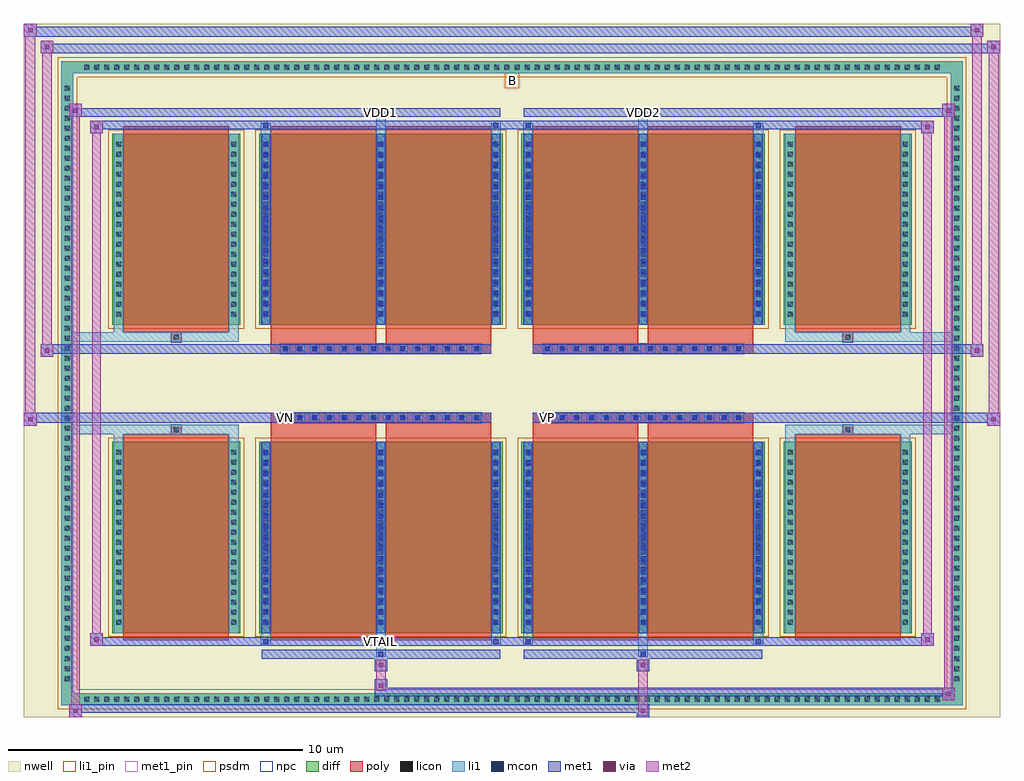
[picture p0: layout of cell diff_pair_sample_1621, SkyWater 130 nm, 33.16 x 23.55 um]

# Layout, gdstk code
import gdstk
lib = gdstk.Library(unit=1e-6, precision=5e-09)
def R(c, l, rs):  # rectangles x0, y0, x1, y1
    for r in rs: c.add(gdstk.rectangle(r[:2], r[2:], *l))
def A(c, l, x, y, w, h, nx, ny, dx, dy):  # array of equal rectangles
    R(c, l, [(x+i*dx, y+j*dy, x+i*dx+w, y+j*dy+h) for i in range(nx) for j in range(ny)])
def P(c, l, *ps):  # polygons
    for p in ps: c.add(gdstk.Polygon(p, *l))
nwell = (64, 20)
diff = (65, 20)
poly = (66, 20)
licon = (66, 44)
li1_pin = (67, 16)
li1 = (67, 20)
mcon = (67, 44)
met1_pin = (68, 16)
met1 = (68, 20)
via = (68, 44)
met2 = (69, 20)
psdm = (94, 20)
npc = (95, 20)

diff_pair_sample_1621 = lib.new_cell('diff_pair_sample_1621')
R(diff_pair_sample_1621, nwell, [(-16.58,-11.34,16.58,12.21), (-13.9,-9.53,-0.01,-0.805), (0.01,-9.53,13.9,-0.805), (-13.9,0.805,-0.01,9.53), (0.01,0.805,13.9,9.53)])
A(diff_pair_sample_1621, diff, -14.655, -10.94, 0.41, 0.41, 86, 2, 0.34, 21.47)
A(diff_pair_sample_1621, diff, -15.31, -10.235, 0.41, 0.41, 1, 60, 0, 0.34)
A(diff_pair_sample_1621, diff, 14.9, -10.235, 0.41, 0.41, 1, 60, 0, 0.34)
R(diff_pair_sample_1621, diff, [(-14.655,-10.94,14.655,-10.53), (-15.31,-10.235,-14.9,10.235), (14.9,-10.235,15.31,10.235), (-13.59,-8.485,-9.23,-1.985), (-8.59,-8.485,-0.32,-1.985), (0.32,-8.485,8.59,-1.985), (9.23,-8.485,13.59,-1.985), (-13.59,1.985,-9.23,8.485), (-8.59,1.985,-0.32,8.485), (0.32,1.985,8.59,8.485), (9.23,1.985,13.59,8.485), (-14.655,10.53,14.655,10.94)])
P(diff_pair_sample_1621, diff, [(15.31,10.94),(-15.31,10.94),(-15.31,-10.53),(-14.9,-10.53),(-14.9,10.53),(14.9,10.53),(14.9,-10.53),(-14.9,-10.53),(-15.31,-10.53),(-15.31,-10.94),(15.31,-10.94)])
A(diff_pair_sample_1621, poly, -7.87, -1.335, 0.33, 0.33, 14, 2, 0.5, 2.34)
A(diff_pair_sample_1621, poly, 1.04, -1.335, 0.33, 0.33, 14, 2, 0.5, 2.34)
R(diff_pair_sample_1621, poly, [(-13.2,-8.735,-9.62,-1.735), (-8.2,-8.735,-4.62,-1.735), (-4.29,-8.735,-0.71,-1.735), (0.71,-8.735,4.29,-1.735), (4.62,-8.735,8.2,-1.735), (9.62,-8.735,13.2,-1.735), (-11.575,-1.735,-11.245,-1.405), (-11.575,-1.735,-11.245,-1.405), (-8.2,-1.735,-4.62,-1.335), (-4.29,-1.735,-0.71,-1.335), (0.71,-1.735,4.29,-1.335), (4.62,-1.735,8.2,-1.335), (11.245,-1.735,11.575,-1.405), (11.245,-1.735,11.575,-1.405), (-8.2,-1.335,-0.71,-1.005), (0.71,-1.335,8.2,-1.005), (-8.2,1.005,-0.71,1.335), (0.71,1.005,8.2,1.335), (-8.2,1.335,-4.62,1.735), (-4.29,1.335,-0.71,1.735), (0.71,1.335,4.29,1.735), (4.62,1.335,8.2,1.735), (-11.575,1.405,-11.245,1.735), (-11.575,1.405,-11.245,1.735), (11.245,1.405,11.575,1.735), (11.245,1.405,11.575,1.735), (-13.2,1.735,-9.62,8.735), (-8.2,1.735,-4.62,8.735), (-4.29,1.735,-0.71,8.735), (0.71,1.735,4.29,8.735), (4.62,1.735,8.2,8.735), (9.62,1.735,13.2,8.735)])
A(diff_pair_sample_1621, licon, -14.535, -10.82, 0.17, 0.17, 86, 2, 0.34, 21.47)
A(diff_pair_sample_1621, licon, -15.19, -10.115, 0.17, 0.17, 1, 60, 0, 0.34)
A(diff_pair_sample_1621, licon, 15.02, -10.115, 0.17, 0.17, 1, 60, 0, 0.34)
A(diff_pair_sample_1621, licon, -13.45, -8.21, 0.17, 0.17, 1, 18, 0, 0.34)
A(diff_pair_sample_1621, licon, -9.54, -8.21, 0.17, 0.17, 1, 18, 0, 0.34)
A(diff_pair_sample_1621, licon, -8.45, -8.21, 0.17, 0.17, 3, 18, 3.91, 0.34)
A(diff_pair_sample_1621, licon, 0.46, -8.21, 0.17, 0.17, 3, 18, 3.91, 0.34)
A(diff_pair_sample_1621, licon, 9.37, -8.21, 0.17, 0.17, 1, 18, 0, 0.34)
A(diff_pair_sample_1621, licon, 13.28, -8.21, 0.17, 0.17, 1, 18, 0, 0.34)
A(diff_pair_sample_1621, licon, -7.79, -1.255, 0.17, 0.17, 14, 2, 0.5, 2.34)
A(diff_pair_sample_1621, licon, 1.12, -1.255, 0.17, 0.17, 14, 2, 0.5, 2.34)
A(diff_pair_sample_1621, licon, -13.45, 2.26, 0.17, 0.17, 1, 18, 0, 0.34)
A(diff_pair_sample_1621, licon, -9.54, 2.26, 0.17, 0.17, 1, 18, 0, 0.34)
A(diff_pair_sample_1621, licon, -8.45, 2.26, 0.17, 0.17, 3, 18, 3.91, 0.34)
A(diff_pair_sample_1621, licon, 0.46, 2.26, 0.17, 0.17, 3, 18, 3.91, 0.34)
A(diff_pair_sample_1621, licon, 9.37, 2.26, 0.17, 0.17, 1, 18, 0, 0.34)
A(diff_pair_sample_1621, licon, 13.28, 2.26, 0.17, 0.17, 1, 18, 0, 0.34)
R(diff_pair_sample_1621, licon, [(-11.495,-1.655,-11.325,-1.485), (11.325,-1.655,11.495,-1.485), (-11.495,1.485,-11.325,1.655), (11.325,1.485,11.495,1.655)])
R(diff_pair_sample_1621, li1_pin, [(-0.25,10.03,0.25,10.53)])
A(diff_pair_sample_1621, li1, -14.615, -10.9, 0.33, 0.33, 86, 2, 0.34, 21.47)
A(diff_pair_sample_1621, li1, -15.27, -10.195, 0.33, 0.33, 1, 60, 0, 0.34)
A(diff_pair_sample_1621, li1, 14.94, -10.195, 0.33, 0.33, 1, 60, 0, 0.34)
A(diff_pair_sample_1621, li1, -8.53, -8.485, 0.33, 6.5, 3, 2, 3.91, 10.47)
A(diff_pair_sample_1621, li1, 0.38, -8.485, 0.33, 6.5, 3, 2, 3.91, 10.47)
A(diff_pair_sample_1621, li1, -13.53, -8.29, 0.33, 0.33, 1, 18, 0, 0.34)
A(diff_pair_sample_1621, li1, -9.62, -8.29, 0.33, 0.33, 1, 18, 0, 0.34)
A(diff_pair_sample_1621, li1, -8.53, -8.29, 0.33, 0.33, 3, 18, 3.91, 0.34)
A(diff_pair_sample_1621, li1, 0.38, -8.29, 0.33, 0.33, 3, 18, 3.91, 0.34)
A(diff_pair_sample_1621, li1, 9.29, -8.29, 0.33, 0.33, 1, 18, 0, 0.34)
A(diff_pair_sample_1621, li1, 13.2, -8.29, 0.33, 0.33, 1, 18, 0, 0.34)
A(diff_pair_sample_1621, li1, -8.45, -8.2, 0.17, 0.17, 3, 17, 3.91, 0.36)
A(diff_pair_sample_1621, li1, -8.45, -8.2, 0.17, 5.93, 3, 2, 3.91, 10.47)
A(diff_pair_sample_1621, li1, 0.46, -8.2, 0.17, 0.17, 3, 17, 3.91, 0.36)
A(diff_pair_sample_1621, li1, 0.46, -8.2, 0.17, 5.93, 3, 2, 3.91, 10.47)
A(diff_pair_sample_1621, li1, -7.87, -1.335, 0.33, 0.33, 14, 2, 0.5, 2.34)
A(diff_pair_sample_1621, li1, 1.04, -1.335, 0.33, 0.33, 14, 2, 0.5, 2.34)
A(diff_pair_sample_1621, li1, -13.53, 2.18, 0.33, 0.33, 1, 18, 0, 0.34)
A(diff_pair_sample_1621, li1, -9.62, 2.18, 0.33, 0.33, 1, 18, 0, 0.34)
A(diff_pair_sample_1621, li1, -8.53, 2.18, 0.33, 0.33, 3, 18, 3.91, 0.34)
A(diff_pair_sample_1621, li1, 0.38, 2.18, 0.33, 0.33, 3, 18, 3.91, 0.34)
A(diff_pair_sample_1621, li1, 9.29, 2.18, 0.33, 0.33, 1, 18, 0, 0.34)
A(diff_pair_sample_1621, li1, 13.2, 2.18, 0.33, 0.33, 1, 18, 0, 0.34)
A(diff_pair_sample_1621, li1, -8.45, 2.27, 0.17, 0.17, 3, 17, 3.91, 0.36)
A(diff_pair_sample_1621, li1, 0.46, 2.27, 0.17, 0.17, 3, 17, 3.91, 0.36)
R(diff_pair_sample_1621, li1, [(-15.31,-10.94,-14.9,-10.53), (-15.31,-10.94,-14.9,-10.53), (-14.9,-10.94,14.9,-10.53), (14.9,-10.94,15.31,-10.53), (14.9,-10.94,15.31,-10.53), (-15.31,-10.53,-14.9,10.53), (14.9,-10.53,15.31,10.53), (-4.62,-9.29,-4.29,-8.485), (-4.54,-9.29,-4.37,-9.12), (4.29,-9.29,4.62,-8.485), (4.37,-9.29,4.54,-9.12), (-8.53,-8.86,-8.2,-8.485), (-8.45,-8.86,-8.28,-8.69), (-0.71,-8.86,-0.38,-8.485), (-0.63,-8.86,-0.46,-8.69), (0.38,-8.86,0.71,-8.485), (0.46,-8.86,0.63,-8.69), (8.2,-8.86,8.53,-8.485), (8.28,-8.86,8.45,-8.69), (-13.53,-8.485,-13.2,-1.985), (-9.62,-8.485,-9.29,-1.985), (9.29,-8.485,9.62,-1.985), (13.2,-8.485,13.53,-1.985), (-13.53,-1.985,-13.2,-1.405), (-9.62,-1.985,-9.29,-1.405), (9.29,-1.985,9.62,-1.405), (13.2,-1.985,13.53,-1.405), (-15.31,-1.735,-11.575,-1.405), (-13.53,-1.735,-11.575,-1.405), (-11.575,-1.735,-11.245,-1.405), (-11.245,-1.735,-9.29,-1.405), (9.29,-1.735,11.245,-1.405), (11.245,-1.735,11.575,-1.405), (11.245,-1.735,15.31,-1.405), (11.575,-1.735,13.53,-1.405), (-15.31,1.405,-11.575,1.735), (-13.53,1.405,-11.575,1.735), (-13.53,1.405,-13.2,1.985), (-11.575,1.405,-11.245,1.735), (-11.245,1.405,-9.29,1.735), (-9.62,1.405,-9.29,1.985), (9.29,1.405,11.245,1.735), (9.29,1.405,9.62,1.985), (11.245,1.405,11.575,1.735), (11.245,1.405,15.31,1.735), (11.575,1.405,13.53,1.735), (13.2,1.405,13.53,1.985), (-13.53,1.985,-13.2,8.485), (-9.62,1.985,-9.29,8.485), (9.29,1.985,9.62,8.485), (13.2,1.985,13.53,8.485), (-8.53,8.485,-8.2,8.86), (-4.62,8.485,-4.29,9.29), (-0.71,8.485,-0.38,8.86), (0.38,8.485,0.71,8.86), (4.29,8.485,4.62,9.29), (8.2,8.485,8.53,8.86), (-8.45,8.69,-8.28,8.86), (-0.63,8.69,-0.46,8.86), (0.46,8.69,0.63,8.86), (8.28,8.69,8.45,8.86), (-4.54,9.12,-4.37,9.29), (4.37,9.12,4.54,9.29), (-15.31,10.53,-14.9,10.94), (-15.31,10.53,-14.9,10.94), (-14.9,10.53,14.9,10.94), (14.9,10.53,15.31,10.94), (14.9,10.53,15.31,10.94)])
A(diff_pair_sample_1621, mcon, -8.45, -8.2, 0.17, 0.17, 3, 17, 3.91, 0.36)
A(diff_pair_sample_1621, mcon, 0.46, -8.2, 0.17, 0.17, 3, 17, 3.91, 0.36)
A(diff_pair_sample_1621, mcon, -7.79, -1.255, 0.17, 0.17, 14, 2, 0.5, 2.34)
A(diff_pair_sample_1621, mcon, 1.12, -1.255, 0.17, 0.17, 14, 2, 0.5, 2.34)
A(diff_pair_sample_1621, mcon, -8.45, 2.27, 0.17, 0.17, 3, 17, 3.91, 0.36)
A(diff_pair_sample_1621, mcon, 0.46, 2.27, 0.17, 0.17, 3, 17, 3.91, 0.36)
R(diff_pair_sample_1621, mcon, [(-4.54,-9.29,-4.37,-9.12), (4.37,-9.29,4.54,-9.12), (-8.45,-8.86,-8.28,-8.69), (-0.63,-8.86,-0.46,-8.69), (0.46,-8.86,0.63,-8.69), (8.28,-8.86,8.45,-8.69), (-8.45,8.69,-8.28,8.86), (-0.63,8.69,-0.46,8.86), (0.46,8.69,0.63,8.86), (8.28,8.69,8.45,8.86), (-4.54,9.12,-4.37,9.29), (4.37,9.12,4.54,9.29)])
R(diff_pair_sample_1621, met1_pin, [(-4.59,-8.9,-4.32,-8.63), (-7.84,-1.295,-7.57,-1.025), (1.07,-1.295,1.34,-1.025), (-4.59,9.08,-4.32,9.35), (4.32,9.08,4.59,9.35)])
A(diff_pair_sample_1621, met1, -8.51, -8.485, 0.29, 6.5, 3, 2, 3.91, 10.47)
A(diff_pair_sample_1621, met1, 0.4, -8.485, 0.29, 6.5, 3, 2, 3.91, 10.47)
A(diff_pair_sample_1621, met1, -8.51, -8.26, 0.29, 0.29, 3, 17, 3.91, 0.36)
A(diff_pair_sample_1621, met1, 0.4, -8.26, 0.29, 0.29, 3, 17, 3.91, 0.36)
A(diff_pair_sample_1621, met1, -7.85, -1.315, 0.29, 0.29, 14, 2, 0.5, 2.34)
A(diff_pair_sample_1621, met1, 1.06, -1.315, 0.29, 0.29, 14, 2, 0.5, 2.34)
A(diff_pair_sample_1621, met1, -8.51, 2.21, 0.29, 0.29, 3, 17, 3.91, 0.36)
A(diff_pair_sample_1621, met1, 0.4, 2.21, 0.29, 0.29, 3, 17, 3.91, 0.36)
R(diff_pair_sample_1621, met1, [(-15.04,-11.34,-14.61,-10.91), (4.24,-11.34,4.67,-10.91), (-15.04,-11.2,4.67,-10.91), (14.61,-10.77,15.04,-10.34), (-4.67,-10.63,15.04,-10.34), (-4.67,-10.49,-4.24,-10.06), (-4.67,-9.78,-4.24,-9.35), (4.24,-9.78,4.67,-9.35), (-8.51,-9.35,-0.4,-9.06), (-4.6,-9.35,-4.31,-9.06), (0.4,-9.35,8.51,-9.06), (4.31,-9.35,4.6,-9.06), (-14.33,-8.92,-13.9,-8.49), (-14.33,-8.92,-8.51,-8.63), (-8.51,-8.92,-8.22,-8.63), (-8.51,-8.92,-0.4,-8.63), (-0.69,-8.92,-0.4,-8.63), (-0.4,-8.92,0.4,-8.63), (0.4,-8.92,0.69,-8.63), (0.4,-8.92,8.51,-8.63), (8.22,-8.92,8.51,-8.63), (8.51,-8.92,14.33,-8.63), (13.9,-8.92,14.33,-8.49), (-16.58,-1.435,-16.15,-1.005), (16.15,-1.435,16.58,-1.005), (-16.58,-1.335,-0.71,-1.005), (-8.2,-1.335,-0.71,-1.005), (0.71,-1.335,8.2,-1.005), (0.71,-1.335,16.58,-1.005), (-16.01,0.905,-15.58,1.335), (15.58,0.905,16.01,1.335), (-16.01,1.005,-8.2,1.335), (-8.2,1.005,-0.71,1.335), (0.71,1.005,8.2,1.335), (8.2,1.005,16.01,1.335), (-14.33,8.49,-13.9,8.92), (13.9,8.49,14.33,8.92), (-14.33,8.63,-8.51,8.92), (-8.51,8.63,-8.22,8.92), (-8.51,8.63,-0.4,8.92), (-0.69,8.63,-0.4,8.92), (-0.4,8.63,0.4,8.92), (0.4,8.63,0.69,8.92), (0.4,8.63,8.51,8.92), (8.22,8.63,8.51,8.92), (8.51,8.63,14.33,8.92), (-15.04,9.06,-14.61,9.49), (-15.04,9.06,-8.51,9.35), (-8.51,9.06,-0.4,9.35), (-4.6,9.06,-4.31,9.35), (0.4,9.06,8.51,9.35), (4.31,9.06,4.6,9.35), (8.51,9.06,15.04,9.35), (14.61,9.06,15.04,9.49), (-16.01,11.21,-15.58,11.64), (-16.01,11.21,-13.9,11.54), (-13.9,11.21,13.9,11.54), (13.9,11.21,16.58,11.54), (16.15,11.21,16.58,11.64), (-16.58,11.78,-16.15,12.21), (-16.58,11.78,-13.9,12.11), (-13.9,11.78,13.9,12.11), (13.9,11.78,16.01,12.11), (15.58,11.78,16.01,12.21)])
R(diff_pair_sample_1621, via, [(-14.9,-11.2,-14.75,-11.05), (4.38,-11.2,4.53,-11.05), (14.75,-10.63,14.9,-10.48), (-4.53,-10.35,-4.38,-10.2), (-4.53,-9.64,-4.38,-9.49), (4.38,-9.64,4.53,-9.49), (-14.19,-8.78,-14.04,-8.63), (14.04,-8.78,14.19,-8.63), (-16.44,-1.295,-16.29,-1.145), (16.29,-1.295,16.44,-1.145), (-15.87,1.045,-15.72,1.195), (15.72,1.045,15.87,1.195), (-14.19,8.63,-14.04,8.78), (14.04,8.63,14.19,8.78), (-14.9,9.2,-14.75,9.35), (14.75,9.2,14.9,9.35), (-15.87,11.35,-15.72,11.5), (16.29,11.35,16.44,11.5), (-16.44,11.92,-16.29,12.07), (15.72,11.92,15.87,12.07)])
R(diff_pair_sample_1621, met2, [(-15.04,-11.34,-14.61,-10.91), (-14.97,-11.34,-14.68,9.49), (-14.68,-11.34,-14.61,-10.91), (-14.99,-11.29,-14.66,-10.96), (4.29,-11.29,4.62,-10.96), (4.29,-10.96,4.62,-9.73), (14.61,-10.77,15.04,-10.34), (14.68,-10.77,14.97,9.49), (14.97,-10.77,15.04,-10.34), (14.66,-10.72,14.99,-10.39), (-4.62,-10.44,-4.29,-10.11), (-4.62,-10.11,-4.29,-9.73), (-4.62,-9.73,-4.29,-9.4), (4.29,-9.73,4.62,-9.4), (-14.33,-8.92,-13.9,-8.49), (-14.26,-8.92,-13.97,8.92), (-13.97,-8.92,-13.9,-8.49), (13.9,-8.92,14.33,-8.49), (13.97,-8.92,14.26,8.92), (14.26,-8.92,14.33,-8.49), (-14.28,-8.87,-13.95,-8.54), (13.95,-8.87,14.28,-8.54), (-16.58,-1.435,-16.15,-1.005), (-16.53,-1.435,-16.2,12.21), (-16.2,-1.435,-16.15,-1.005), (16.15,-1.435,16.58,-1.005), (16.2,-1.435,16.53,11.64), (16.53,-1.435,16.58,-1.005), (-16.53,-1.385,-16.2,-1.055), (16.2,-1.385,16.53,-1.055), (-16.01,0.905,-15.58,1.335), (-15.96,0.905,-15.63,11.64), (-15.63,0.905,-15.58,1.335), (15.58,0.905,16.01,1.335), (15.63,0.905,15.96,12.21), (15.96,0.905,16.01,1.335), (-15.96,0.955,-15.63,1.285), (15.63,0.955,15.96,1.285), (-14.33,8.49,-13.9,8.92), (-13.97,8.49,-13.9,8.92), (13.9,8.49,14.33,8.92), (14.26,8.49,14.33,8.92), (-14.28,8.54,-13.95,8.87), (13.95,8.54,14.28,8.87), (-15.04,9.06,-14.61,9.49), (-14.68,9.06,-14.61,9.49), (14.61,9.06,15.04,9.49), (14.97,9.06,15.04,9.49), (-14.99,9.11,-14.66,9.44), (14.66,9.11,14.99,9.44), (-16.01,11.21,-15.58,11.64), (-15.63,11.21,-15.58,11.64), (16.15,11.21,16.58,11.64), (16.53,11.21,16.58,11.64), (-15.96,11.26,-15.63,11.59), (16.2,11.26,16.53,11.59), (-16.58,11.78,-16.15,12.21), (-16.2,11.78,-16.15,12.21), (15.58,11.78,16.01,12.21), (15.96,11.78,16.01,12.21), (-16.53,11.83,-16.2,12.16), (15.63,11.83,15.96,12.16)])
R(diff_pair_sample_1621, psdm, [(-13.72,-8.615,-9.1,-1.855), (-8.72,-8.615,-0.19,-1.855), (0.19,-8.615,8.72,-1.855), (9.1,-8.615,13.72,-1.855), (-13.72,1.855,-9.1,8.615), (-8.72,1.855,-0.19,8.615), (0.19,1.855,8.72,8.615), (9.1,1.855,13.72,8.615)])
P(diff_pair_sample_1621, psdm, [(15.44,11.07),(-15.44,11.07),(-15.44,-10.4),(-14.77,-10.4),(-14.77,10.4),(14.77,10.4),(14.77,-10.4),(-14.77,-10.4),(-15.44,-10.4),(-15.44,-11.07),(15.44,-11.07)])
A(diff_pair_sample_1621, npc, -7.89, -1.355, 0.37, 0.37, 14, 2, 0.5, 2.34)
A(diff_pair_sample_1621, npc, 1.02, -1.355, 0.37, 0.37, 14, 2, 0.5, 2.34)
R(diff_pair_sample_1621, npc, [(-11.595,-1.755,-11.225,-1.385), (11.225,-1.755,11.595,-1.385), (-7.89,-1.355,-7.02,-0.985), (-7.89,-1.355,-7.02,-0.985), (-7.39,-1.355,-6.52,-0.985), (-7.39,-1.355,-6.52,-0.985), (-6.89,-1.355,-6.02,-0.985), (-6.89,-1.355,-6.02,-0.985), (-6.39,-1.355,-5.52,-0.985), (-6.39,-1.355,-5.52,-0.985), (-5.89,-1.355,-5.02,-0.985), (-5.89,-1.355,-5.02,-0.985), (-5.39,-1.355,-4.52,-0.985), (-5.39,-1.355,-4.52,-0.985), (-4.89,-1.355,-4.02,-0.985), (-4.89,-1.355,-4.02,-0.985), (-4.39,-1.355,-3.52,-0.985), (-4.39,-1.355,-3.52,-0.985), (-3.89,-1.355,-3.02,-0.985), (-3.89,-1.355,-3.02,-0.985), (-3.39,-1.355,-2.52,-0.985), (-3.39,-1.355,-2.52,-0.985), (-2.89,-1.355,-2.02,-0.985), (-2.89,-1.355,-2.02,-0.985), (-2.39,-1.355,-1.52,-0.985), (-2.39,-1.355,-1.52,-0.985), (-1.89,-1.355,-1.02,-0.985), (-1.89,-1.355,-1.02,-0.985), (1.02,-1.355,1.89,-0.985), (1.02,-1.355,1.89,-0.985), (1.52,-1.355,2.39,-0.985), (1.52,-1.355,2.39,-0.985), (2.02,-1.355,2.89,-0.985), (2.02,-1.355,2.89,-0.985), (2.52,-1.355,3.39,-0.985), (2.52,-1.355,3.39,-0.985), (3.02,-1.355,3.89,-0.985), (3.02,-1.355,3.89,-0.985), (3.52,-1.355,4.39,-0.985), (3.52,-1.355,4.39,-0.985), (4.02,-1.355,4.89,-0.985), (4.02,-1.355,4.89,-0.985), (4.52,-1.355,5.39,-0.985), (4.52,-1.355,5.39,-0.985), (5.02,-1.355,5.89,-0.985), (5.02,-1.355,5.89,-0.985), (5.52,-1.355,6.39,-0.985), (5.52,-1.355,6.39,-0.985), (6.02,-1.355,6.89,-0.985), (6.02,-1.355,6.89,-0.985), (6.52,-1.355,7.39,-0.985), (6.52,-1.355,7.39,-0.985), (7.02,-1.355,7.89,-0.985), (7.02,-1.355,7.89,-0.985), (-7.89,0.985,-7.02,1.355), (-7.89,0.985,-7.02,1.355), (-7.39,0.985,-6.52,1.355), (-7.39,0.985,-6.52,1.355), (-6.89,0.985,-6.02,1.355), (-6.89,0.985,-6.02,1.355), (-6.39,0.985,-5.52,1.355), (-6.39,0.985,-5.52,1.355), (-5.89,0.985,-5.02,1.355), (-5.89,0.985,-5.02,1.355), (-5.39,0.985,-4.52,1.355), (-5.39,0.985,-4.52,1.355), (-4.89,0.985,-4.02,1.355), (-4.89,0.985,-4.02,1.355), (-4.39,0.985,-3.52,1.355), (-4.39,0.985,-3.52,1.355), (-3.89,0.985,-3.02,1.355), (-3.89,0.985,-3.02,1.355), (-3.39,0.985,-2.52,1.355), (-3.39,0.985,-2.52,1.355), (-2.89,0.985,-2.02,1.355), (-2.89,0.985,-2.02,1.355), (-2.39,0.985,-1.52,1.355), (-2.39,0.985,-1.52,1.355), (-1.89,0.985,-1.02,1.355), (-1.89,0.985,-1.02,1.355), (1.02,0.985,1.89,1.355), (1.02,0.985,1.89,1.355), (1.52,0.985,2.39,1.355), (1.52,0.985,2.39,1.355), (2.02,0.985,2.89,1.355), (2.02,0.985,2.89,1.355), (2.52,0.985,3.39,1.355), (2.52,0.985,3.39,1.355), (3.02,0.985,3.89,1.355), (3.02,0.985,3.89,1.355), (3.52,0.985,4.39,1.355), (3.52,0.985,4.39,1.355), (4.02,0.985,4.89,1.355), (4.02,0.985,4.89,1.355), (4.52,0.985,5.39,1.355), (4.52,0.985,5.39,1.355), (5.02,0.985,5.89,1.355), (5.02,0.985,5.89,1.355), (5.52,0.985,6.39,1.355), (5.52,0.985,6.39,1.355), (6.02,0.985,6.89,1.355), (6.02,0.985,6.89,1.355), (6.52,0.985,7.39,1.355), (6.52,0.985,7.39,1.355), (7.02,0.985,7.89,1.355), (7.02,0.985,7.89,1.355), (-11.595,1.385,-11.225,1.755), (11.225,1.385,11.595,1.755)])
diff_pair_sample_1621.add(gdstk.Label('VTAIL', (-4.455,-8.765), layer=68, texttype=5))
diff_pair_sample_1621.add(gdstk.Label('VN', (-7.705,-1.16), layer=68, texttype=5))
diff_pair_sample_1621.add(gdstk.Label('VP', (1.205,-1.16), layer=68, texttype=5))
diff_pair_sample_1621.add(gdstk.Label('B', (0,10.28), layer=67, texttype=5))
diff_pair_sample_1621.add(gdstk.Label('VDD2', (4.455,9.215), layer=68, texttype=5))
diff_pair_sample_1621.add(gdstk.Label('VDD1', (-4.455,9.215), layer=68, texttype=5))

lib.write_gds('diff_pair_sample_1621.gds')
